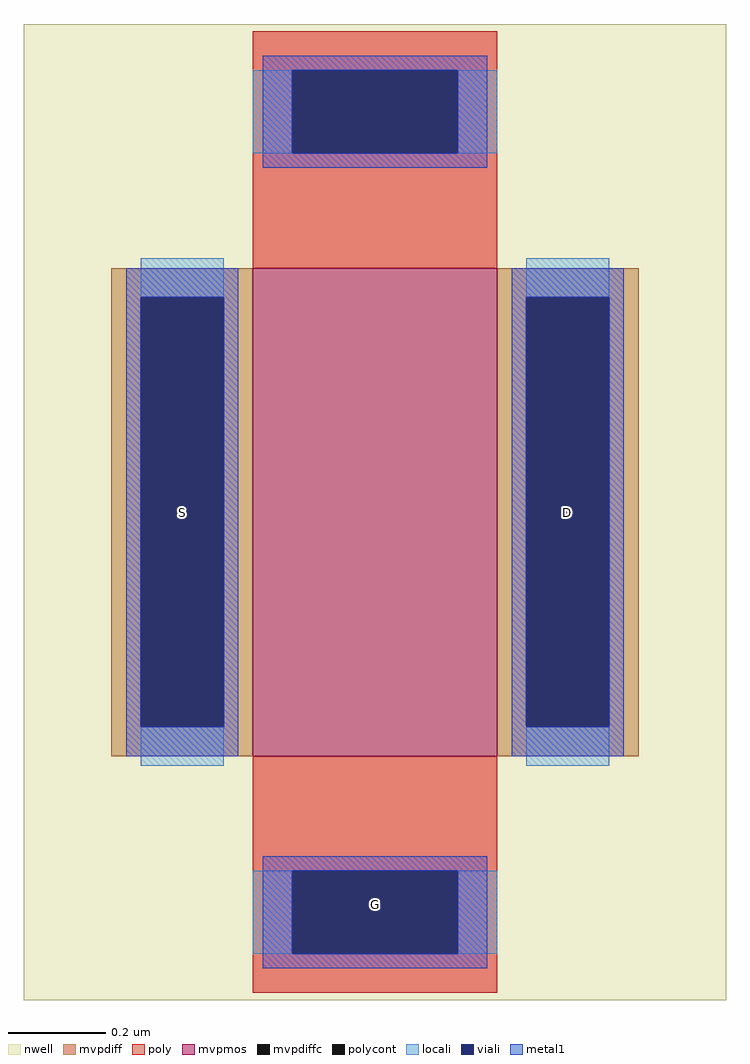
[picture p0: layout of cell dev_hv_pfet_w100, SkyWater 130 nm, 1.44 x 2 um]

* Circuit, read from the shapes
.subckt dev_hv_pfet_w100 G S D
XM1 D G S n1 sky130_fd_pr__pfet_g5v0d10v5 w=1 l=0.5
.ends

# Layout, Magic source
magic
tech sky130B
magscale 1 2
<< nwell >>
rect -144 -200 144 200
<< mvpmos >>
rect -50 -100 50 100
<< mvpdiff >>
rect -108 88 -50 100
rect -108 -88 -96 88
rect -62 -88 -50 88
rect -108 -100 -50 -88
rect 50 88 108 100
rect 50 -88 62 88
rect 96 -88 108 88
rect 50 -100 108 -88
<< mvpdiffc >>
rect -96 -88 -62 88
rect 62 -88 96 88
<< poly >>
rect -50 181 50 197
rect -50 147 -34 181
rect 34 147 50 181
rect -50 100 50 147
rect -50 -147 50 -100
rect -50 -181 -34 -147
rect 34 -181 50 -147
rect -50 -197 50 -181
<< polycont >>
rect -34 147 34 181
rect -34 -181 34 -147
<< locali >>
rect -50 147 -34 181
rect 34 147 50 181
rect -96 88 -62 104
rect -96 -104 -62 -88
rect 62 88 96 104
rect 62 -104 96 -88
rect -50 -181 -34 -147
rect 34 -181 50 -147
<< viali >>
rect -34 147 34 181
rect -96 -88 -62 88
rect 62 -88 96 88
rect -34 -181 34 -147
<< metal1 >>
rect -46 181 46 187
rect -46 147 -34 181
rect 34 147 46 181
rect -46 141 46 147
rect -102 88 -56 100
rect -102 -88 -96 88
rect -62 -88 -56 88
rect -102 -100 -56 -88
rect 56 88 102 100
rect 56 -88 62 88
rect 96 -88 102 88
rect 56 -100 102 -88
rect -46 -147 46 -141
rect -46 -181 -34 -147
rect 34 -181 46 -147
rect -46 -187 46 -181
<< labels >>
flabel metal1 s -46 -181 46 -141 0 FreeSans 16 0 0 0 G
port 0 nsew
flabel metal1 s -102 -50 -56 50 0 FreeSans 16 0 0 0 S
port 1 nsew
flabel metal1 s 56 -50 102 50 0 FreeSans 16 0 0 0 D
port 2 nsew
<< end >>
